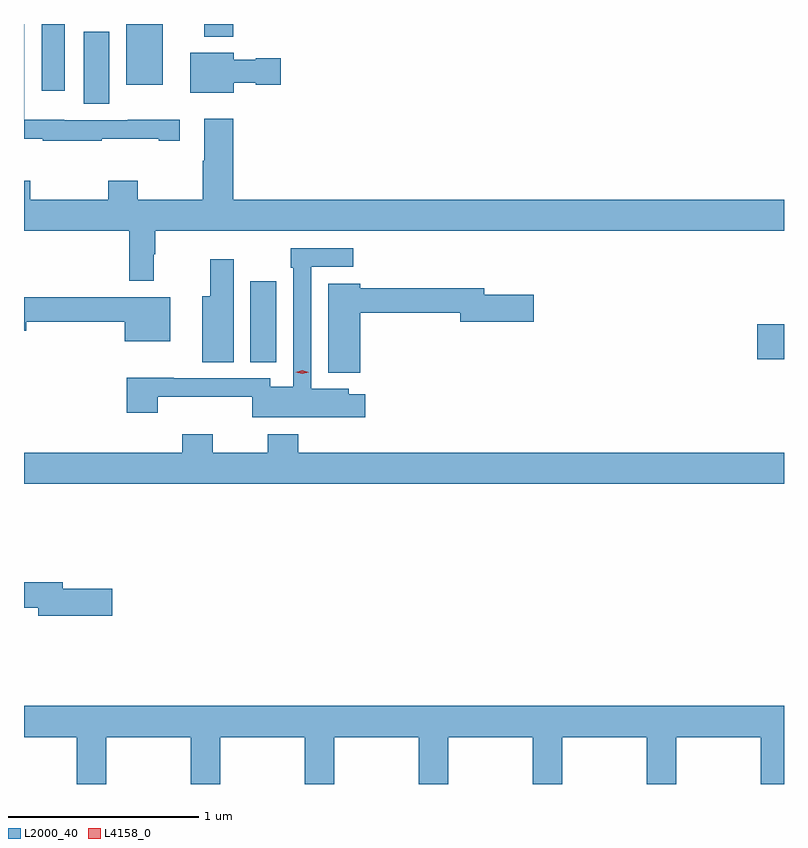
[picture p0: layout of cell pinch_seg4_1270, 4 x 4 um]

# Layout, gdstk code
import gdstk
lib = gdstk.Library(unit=1e-6, precision=1e-09)
def R(c, l, rs):  # rectangles x0, y0, x1, y1
    for r in rs: c.add(gdstk.rectangle(r[:2], r[2:], *l))
def P(c, l, *ps):  # polygons
    for p in ps: c.add(gdstk.Polygon(p, *l))
L2000_40 = (2000, 40)
L4158_0 = (4158, 0)

pinch_seg4_1270 = lib.new_cell('pinch_seg4_1270')
R(pinch_seg4_1270, L2000_40, [(288.338,788.137,288.475,788.563), (291.006,788.153,291.147,788.336), (287.462,789.496,287.596,789.877), (287.24,789.567,287.362,789.917), (287.684,789.596,287.878,789.917), (288.095,789.851,288.248,789.917)])
P(pinch_seg4_1270, L2000_40, [(287.555,789.313),(287.855,789.313),(287.855,789.303),(287.968,789.303),(287.968,789.413),(287.692,789.413),(287.692,789.411),(287.358,789.411),(287.358,789.412),(287.148,789.412),(287.148,789.917),(287.147,789.917),(287.147,789.313),(287.245,789.313),(287.245,789.303),(287.555,789.303)],
  [(288.25,789.608),(288.366,789.608),(288.366,789.596),(288.499,789.596),(288.499,789.738),(288.366,789.738),(288.366,789.73),(288.25,789.73),(288.25,789.766),(288.023,789.766),(288.023,789.554),(288.25,789.554)],
  [(287.83,788.705),(287.837,788.705),(287.837,788.828),(291.147,788.828),(291.147,788.992),(288.248,788.992),(288.248,789.418),(288.095,789.418),(288.095,789.197),(288.088,789.197),(288.088,788.992),(287.745,788.992),(287.745,789.091),(287.59,789.091),(287.59,788.992),(287.181,788.992),(287.181,789.091),(287.147,789.091),(287.147,788.828),(287.701,788.828),(287.701,788.565),(287.83,788.565)],
  [(288.943,787.969),(288.855,787.969),(288.855,787.996),(288.66,787.996),(288.66,788.64),(288.88,788.64),(288.88,788.736),(288.552,788.736),(288.552,788.633),(288.564,788.633),(288.564,788.008),(288.444,788.008),(288.444,788.052),(287.935,788.052),(287.935,788.054),(287.687,788.054),(287.687,787.872),(287.852,787.872),(287.852,787.955),(288.348,787.955),(288.348,787.847),(288.943,787.847)],
  [(288.25,788.68),(288.128,788.68),(288.128,788.485),(288.086,788.485),(288.086,788.137),(288.25,788.137)],
  [(288.916,788.398),(289.442,788.398),(289.442,788.351),(289.831,788.351),(289.831,788.493),(289.57,788.493),(289.57,788.527),(288.916,788.527),(288.916,788.551),(288.749,788.551),(288.749,788.081),(288.916,788.081)],
  [(287.917,788.479),(287.147,788.479),(287.147,788.303),(287.158,788.303),(287.158,788.35),(287.678,788.35),(287.678,788.246),(287.917,788.246)],
  [(291.147,787.66),(288.59,787.66),(288.59,787.759),(288.43,787.759),(288.43,787.66),(288.141,787.66),(288.141,787.759),(287.981,787.759),(287.981,787.66),(287.147,787.66),(287.147,787.496),(291.147,787.496)],
  [(287.611,786.944),(287.35,786.944),(287.35,786.98),(287.147,786.98),(287.147,786.844),(287.222,786.844),(287.222,786.802),(287.611,786.802)],
  [(287.58,786.164),(288.025,786.164),(288.025,785.917),(288.18,785.917),(288.18,786.164),(288.625,786.164),(288.625,785.917),(288.78,785.917),(288.78,786.164),(289.225,786.164),(289.225,785.917),(289.38,785.917),(289.38,786.164),(289.825,786.164),(289.825,785.917),(289.98,785.917),(289.98,786.164),(290.425,786.164),(290.425,785.917),(290.58,785.917),(290.58,786.164),(291.025,786.164),(291.025,785.917),(291.147,785.917),(291.147,786.328),(287.147,786.328),(287.147,786.164),(287.425,786.164),(287.425,785.917),(287.58,785.917)])
P(pinch_seg4_1270, L4158_0, [(288.612,788.075),(288.577,788.085),(288.577,788.085),(288.577,788.085),(288.612,788.095),(288.646,788.085),(288.646,788.084),(288.646,788.084)])

lib.write_gds('pinch_seg4_1270.gds')
